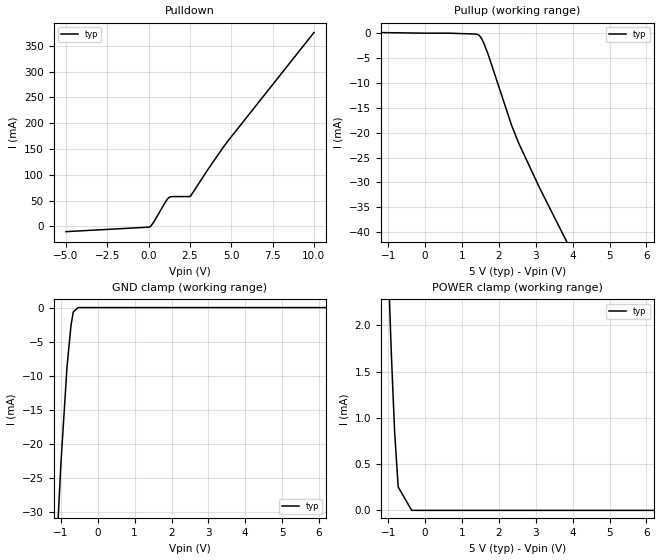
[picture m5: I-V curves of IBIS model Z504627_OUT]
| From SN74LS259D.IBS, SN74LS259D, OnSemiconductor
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| (C) COPYRIGHT 1993-2000
| MENTOR GRAPHICS CORPORATION
| ICX STANDARD LIBRARY, ICX PROJECT MODELING,
| ICX CUSTOM MODELING, ICX VENDOR MODEL
| ALL RIGHTS RESERVED.
| THE FOLLOWING ARE TRADEMARKS OR SERVICE MARKS OF
| MENTOR GRAPHICS CORPORATION:ICX (R), ICX STANDARD
| LIBRARY(R), ICX PROJECT MODELING(R), ICX CUSTOM
| MODELING(R), qualityIBIS(TM), MODELVIEWER(TM),
| AND MODELEDITOR(TM)
| ALL COPIES OF SOFTWARE, INCLUDING BUT NOT LIMITED TO
| ANY MODIFICATIONS, ENHANCEMENTS OR DERIVATIVE WORKS,
| MUST CONTAIN ALL MENTOR GRAPHICS CORPORATION'S
| NOTICES AND LEGENDS, INCLUDING THOSE EMBEDDED IN
| SOFTWARE AND THOSE AFFIXED TO SOFTWARE MEDIUM
| AND CONTAINER, AS RECEIVED FROM MENTOR GRAPHICS
| CORPORATION.
| Model Application Version 1.89 2/18/99.
[Model] Z504627_OUT
Model_type Output
Vref=5.000V
Rref=2.000kohms
Cref=15.00pF
Vmeas=1.300V
C_comp 8.000pF NA NA
| variable typ   min   max
[Voltage Range] 5.000V NA NA
[POWER Clamp Reference] 5.000V NA NA
[Pullup Reference] 5.000V NA NA
[Pulldown Reference] 0.000V NA NA
[GND Clamp Reference] 0.000V NA NA
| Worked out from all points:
|   slope of the pulldown table from 0 to 0.75 V, typ, clamps not added: 22 ohm
|   slope of the pullup table from 0 to 0.75 V, typ, clamps not added: 28.6 kohm
|   GND clamp passes 1 mA (typ) near -0.68 V on its own axis
|   POWER clamp passes 1 mA (typ) near -0.84 V on its own axis
[GND Clamp]
-5V       -526.6mA   NA         NA
-1.162V   -40.3mA    NA         NA
-999.5mV  -22.86mA   NA         NA
-835mV    -8.738mA   NA         NA
-724.3mV  -2.52mA    NA         NA
-664mV    -634.7uA   NA         NA
-531.2mV  0A         NA         NA
10V       0A         NA         NA
[Pulldown]
-5V       -10.23mA   NA         NA
68.66mV   -1.063mA   NA         NA
322.2mV   8.88mA     NA         NA
1.016V    47.22mA    NA         NA
1.206V    55.26mA    NA         NA
1.385V    57.59mA    NA         NA
2.539V    58.71mA    NA         NA
3.56V     108.9mA    NA         NA
4.756V    163.7mA    NA         NA
10V       375.6mA    NA         NA
[Pullup]
-5V       527uA      NA         NA
639mV     6.71uA     NA         NA
1.416V    -231.4uA   NA         NA
1.509V    -824.5uA   NA         NA
1.581V    -1.832mA   NA         NA
1.699V    -4.051mA   NA         NA
2.344V    -18.5mA    NA         NA
2.529V    -21.97mA   NA         NA
3.096V    -30.98mA   NA         NA
10V       -132.4mA   NA         NA
[POWER Clamp]
-5V       55.95mA    NA         NA
-1.542V   9.243mA    NA         NA
-1.172V   4.586mA    NA         NA
-917mV    1.686mA    NA         NA
-829mV    849.9uA    NA         NA
-732mV    253uA      NA         NA
-366mV    0A         NA         NA
10V       0A         NA         NA
[Ramp]
| variable typ min max
dV/dt_r 1.854/7.346n NA NA
dV/dt_f 1.854/2.359n NA NA
R_load = 500.0Ohms
